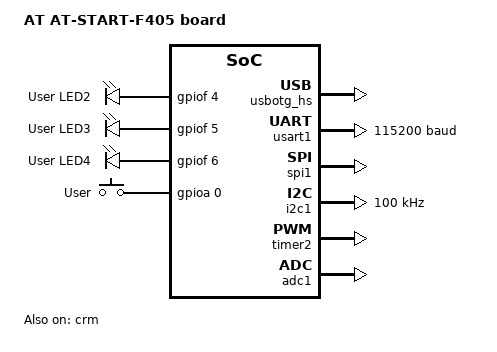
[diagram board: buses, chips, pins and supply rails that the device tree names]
/*
 * Copyright (c) 2025 Maxjta
 *
 * SPDX-License-Identifier: Apache-2.0
 */

/dts-v1/;
#include <at/at32f402_405/at32f405rct7.dtsi>
#include "at_start_f405-pinctrl.dtsi"
#include <zephyr/dt-bindings/input/input-event-codes.h>

/ {
	model = "AT AT-START-F405 board";
	compatible = "at,at_start_f405";

	chosen {
		zephyr,console = &usart1;
		zephyr,shell-uart = &usart1;
		zephyr,sram = &sram0;
		zephyr,flash = &flash0;
	};

	leds: leds {
		compatible = "gpio-leds";
		red_led: led2 {
			gpios = <&gpiof 4 GPIO_ACTIVE_HIGH>;
			label = "User LED2";
		};
		yellow_led: led3 {
			gpios = <&gpiof 5 GPIO_ACTIVE_HIGH>;
			label = "User LED3";
		};
		green_led: led4 {
			gpios = <&gpiof 6 GPIO_ACTIVE_HIGH>;
			label = "User LED4";
		};
	};

	gpio_keys {
		compatible = "gpio-keys";
		user_button: button {
			label = "User";
			gpios = <&gpioa 0 GPIO_ACTIVE_HIGH>;
			zephyr,code = <INPUT_KEY_0>;
		};
	};

	aliases {
		led0 = &red_led;
		led1 = &yellow_led;
		led2 = &green_led;
		sw0 = &user_button;
	};
};

&gpioa {
    status = "okay";
};

&gpiob {
    status = "okay";
};

&gpioc {
    status = "okay";
};

&gpiod {
    status = "okay";
};

&gpiof {
    status = "okay";
};

&clk_lick {
	status = "okay";
};

&clk_hext {
	clock-frequency = <12000000>;
	status = "okay";
};

&pll {
	div-ms = <1>;
	mul-ns = <72>;
	div-fp = <2>;
	div-fu = <5>;
	clocks = <&clk_hext>;
	status = "okay";
};

&crm {
	clocks = <&pll>;
	ahb-prescaler = <1>;
	clock-frequency = <216000000>;
	apb1-prescaler = <2>;
	apb2-prescaler = <1>;
	status = "okay";
};

&usbotg_hs {
    status = "okay";
};

&usart1 {
	pinctrl-0 = <&usart1_default>;
	pinctrl-names = "default";
	current-speed = <115200>;
	status = "okay";
};

&spi1 {
	status = "okay";
	pinctrl-0 = <&spi1_default>;
	pinctrl-names = "default";
	cs-gpios = <&gpioa 4 GPIO_ACTIVE_LOW>;
	dmas = <&dma1 1 10 1 0>, <&dma1 2 11 2 0>;
	dma-names = "rx", "tx";
};

&i2c1 {
    status = "okay";
	clock-frequency = <I2C_BITRATE_STANDARD>;
	pinctrl-0 = <&i2c1_default>;
	pinctrl-names = "default";
};

&timer2 {
    status = "okay";
	at,prescaler = <9999>;
	
	pwm1: pwm {
		status = "okay";
		pinctrl-0 = <&pwm1_default>;
		pinctrl-names = "default";
	};
};

&dma1 {
    status = "okay";
};

&adc1 {
	pinctrl-0 = <&adc1_default>;
	pinctrl-names = "default";
	at,adc-clock-source = "SYNC";
	at,adc-prescaler = <15>;
	status = "okay";
	dmas = <&dma1 3 5 (AT32_DMA_PERIPH_TO_MEMORY|AT32_DMA_NO_PERIPH_ADDR_INC| 
	                  AT32_DMA_MEMORY_ADDR_INC|AT32_DMA_PERIPH_WIDTH_16BIT|
					  AT32_DMA_MEMORY_WIDTH_16BIT|AT32_DMA_PRIORITY_HIGH) 0>;
	dma-names = "rx";
};
